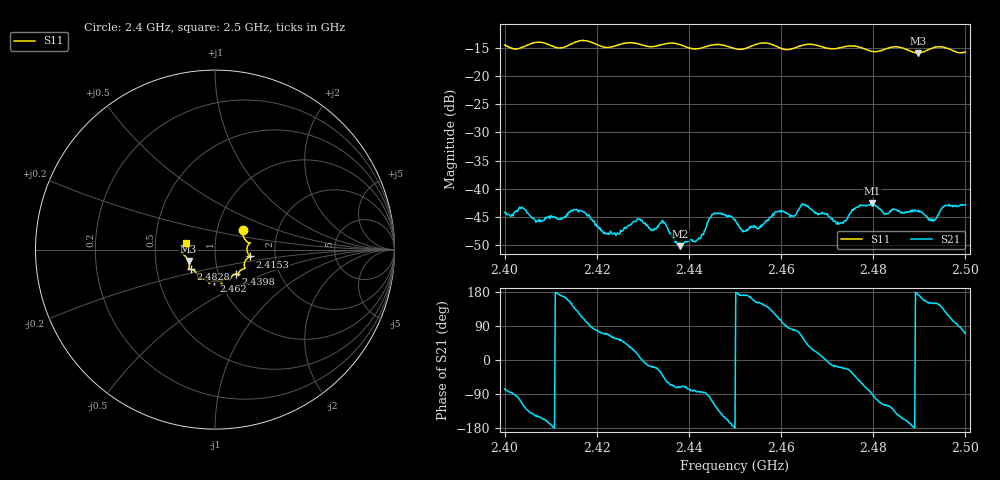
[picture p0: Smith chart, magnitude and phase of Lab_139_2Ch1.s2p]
# Hz S RI R 50
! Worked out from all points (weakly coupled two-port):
!   601 points, 2.4 GHz to 2.5 GHz, reference 50 ohm
!   highest |S21| = -42.55 dB at 2.4798 GHz (marker M1); lowest = -50.2 dB at 2.4382 GHz (marker M2)
!   lowest |S11| = -15.9 dB at 2.4897 GHz (marker M3), VSWR 1.38, Z = 36.9 - j4.83 ohm
!   |S11| at or under -10 dB: start of sweep to end of sweep
!   S12 and S22 are empty: the file has one direction only
!   S11 on the Smith chart (normalised r, x): 2.4 GHz: 1.33, +0.30; 2.4153 GHz: 1.48, -0.12; 2.4398 GHz: 1.21, -0.34; 2.462 GHz: 0.93, -0.33; 2.4828 GHz: 0.74, -0.17; 2.5 GHz: 0.72, +0.06
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2.4e9  0.1555 0.1072  0.00145 -0.00597  0 0  0 0
2.407333e9  0.1965 0.0375  -0.0044 -0.00268  0 0  0 0
2.415333e9  0.1962 -0.0383  -0.00454 0.00468  0 0  0 0
2.416667e9  0.2024 -0.0424  -0.00264 0.00576  0 0  0 0
2.422e9  0.1681 -0.064  0.00137 0.00372  0 0  0 0
2.429167e9  0.1605 -0.1064  0.00531 0.00095  0 0  0 0
2.433333e9  0.1306 -0.1335  0.00412 -0.00201  0 0  0 0
2.438167e9  0.1285 -0.1396  0.001 -0.00292  0 0  0 0
2.439833e9  0.116 -0.136  0.00078 -0.00331  0 0  0 0
2.442667e9  0.0909 -0.152  0.000403 -0.00373  0 0  0 0
2.4455e9  0.0846 -0.1702  -0.00285 -0.00538  0 0  0 0
2.45e9  0.065 -0.1626  -0.00533 -7.16e-05  0 0  0 0
2.452167e9  0.0428 -0.17  -0.00413 0.000627  0 0  0 0
2.462e9  -0.00485 -0.1728  0.000753 0.00557  0 0  0 0
2.466667e9  -0.0342 -0.1882  0.00569 0.00313  0 0  0 0
2.473e9  -0.0803 -0.16  0.00468 -0.00168  0 0  0 0
2.479833e9  -0.1082 -0.1253  -0.000164 -0.00745  0 0  0 0
2.482833e9  -0.1364 -0.1094  -0.00295 -0.00521  0 0  0 0
2.483333e9  -0.1402 -0.1091  -0.00308 -0.00518  0 0  0 0
2.489667e9  -0.1473 -0.0638  -0.0063 0.000775  0 0  0 0
2.492833e9  -0.175 -0.0277  -0.00448 0.00256  0 0  0 0
2.5e9  -0.1589 0.0389  0.00248 0.00668  0 0  0 0
